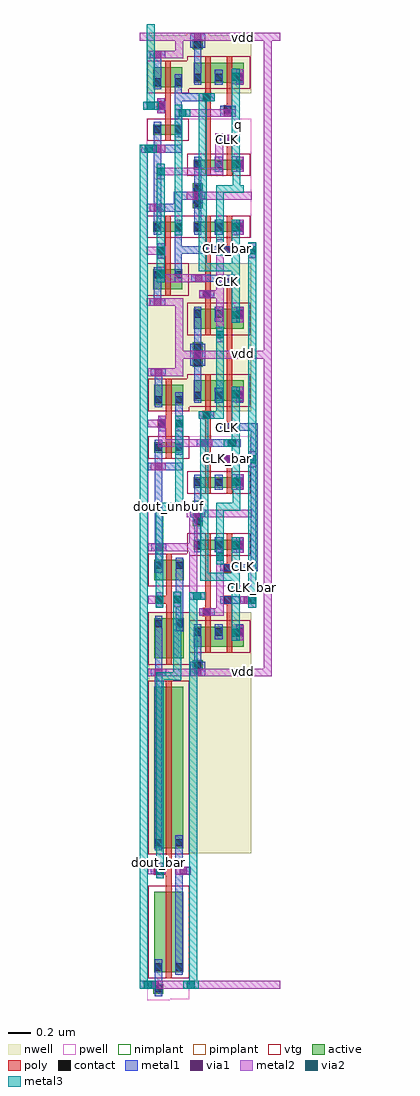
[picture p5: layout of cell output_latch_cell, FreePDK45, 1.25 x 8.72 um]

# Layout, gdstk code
from math import pi, radians
import gdstk
lib = gdstk.Library(unit=1e-6, precision=5e-10)
def R(c, l, rs):  # rectangles x0, y0, x1, y1
    for r in rs: c.add(gdstk.rectangle(r[:2], r[2:], *l))
active = (1, 0)
pwell = (2, 0)
nwell = (3, 0)
nimplant = (4, 0)
pimplant = (5, 0)
vtg = (6, 0)
poly = (9, 0)
contact = (10, 0)
metal1 = (11, 0)
via1 = (12, 0)
metal2 = (13, 0)
via2 = (14, 0)
metal3 = (15, 0)

m2_m1_viab = lib.new_cell('M2_M1_viaB')
R(m2_m1_viab, metal1, [(-0.0675,-0.0325,0.0675,0.0325)])
R(m2_m1_viab, via1, [(-0.0325,-0.0325,0.0325,0.0325)])
R(m2_m1_viab, metal2, [(-0.0675,-0.035,0.0675,0.035)])

dcont_25 = lib.new_cell('dcont_25')
R(dcont_25, active, [(-0.0375,0.03,0.0375,0.105)])
R(dcont_25, contact, [(-0.0325,0.035,0.0325,0.1)])
R(dcont_25, metal1, [(-0.0325,0,0.0325,0.135)])

pmos_vtg_1 = lib.new_cell('pmos_vtg_1')
R(pmos_vtg_1, active, [(-0.105,0,0.155,0.36), (-0.105,0,-0.03,0.36), (0.08,0,0.155,0.36), (-0.105,0.01,-0.03,0.085), (0.08,0.01,0.155,0.085)])
R(pmos_vtg_1, nwell, [(-0.16,-0.055,0.21,0.415)])
R(pmos_vtg_1, pimplant, [(-0.105,0,0.155,0.36)])
R(pmos_vtg_1, vtg, [(-0.16,-0.055,0.21,0.415)])
R(pmos_vtg_1, poly, [(0,-0.055,0.05,0), (0,-0.055,0.05,0.415), (0,0.36,0.05,0.415)])
pmos_vtg_1.add(gdstk.Reference(dcont_25, (0.1175,-0.02)))
pmos_vtg_1.add(gdstk.Reference(dcont_25, (-0.0675,-0.02)))
pmos_vtg_1.add(gdstk.Label('l = 0.05', (0.06,0.18), layer=239, texttype=0))
pmos_vtg_1.add(gdstk.Label('w = 0.36', (0.025,0.425), layer=239, texttype=0))

pcont_2 = lib.new_cell('pcont_2')
R(pcont_2, poly, [(-0.0375,-0.0375,0.0375,0.0375)])
R(pcont_2, contact, [(-0.0325,-0.0325,0.0325,0.0325)])
R(pcont_2, metal1, [(-0.0325,-0.0675,0.0325,0.0675)])

m2_m1_viac = lib.new_cell('M2_M1_viaC')
R(m2_m1_viac, metal1, [(-0.0325,-0.0675,0.0325,0.0675)])
R(m2_m1_viac, via1, [(-0.0325,-0.0325,0.0325,0.0325)])
R(m2_m1_viac, metal2, [(-0.035,-0.0675,0.035,0.0675)])

nmos_vtg_3 = lib.new_cell('nmos_vtg_3')
R(nmos_vtg_3, active, [(-0.105,0,0.155,0.18), (-0.105,0,-0.03,0.18), (0.08,0,0.155,0.18), (-0.105,0.01,-0.03,0.085), (0.08,0.01,0.155,0.085)])
R(nmos_vtg_3, pwell, [(-0.16,-0.055,0.21,0.235)])
R(nmos_vtg_3, nimplant, [(-0.105,0,0.155,0.18)])
R(nmos_vtg_3, vtg, [(-0.16,-0.055,0.21,0.235)])
R(nmos_vtg_3, poly, [(0,-0.055,0.05,0), (0,-0.055,0.05,0.235), (0,0.18,0.05,0.235)])
nmos_vtg_3.add(gdstk.Reference(dcont_25, (0.1175,-0.02)))
nmos_vtg_3.add(gdstk.Reference(dcont_25, (-0.0675,-0.02)))
nmos_vtg_3.add(gdstk.Label('l = 0.05', (0.06,0.09), layer=239, texttype=0))
nmos_vtg_3.add(gdstk.Label('w = 0.18', (0.025,0.245), layer=239, texttype=0))

out_inv_4 = lib.new_cell('out_inv_4')
R(out_inv_4, poly, [(0.1625,0.345,0.2125,0.6475), (0.09,0.4675,0.1625,0.5425)])
R(out_inv_4, metal1, [(0.0625,0.005,0.1275,0.14), (0.2475,0.2175,0.3125,0.6825), (0.0625,0.7725,0.1275,1.1675)])
R(out_inv_4, metal2, [(0,0.0025,0.385,0.0725), (0,0.47,0.13,0.54), (0,1.12,0.385,1.19)])
out_inv_4.add(gdstk.Reference(pmos_vtg_1, (0.1625,0.67)))
out_inv_4.add(gdstk.Reference(pcont_2, (0.1,0.505)))
out_inv_4.add(gdstk.Reference(m2_m1_viab, (0.095,1.155)))
out_inv_4.add(gdstk.Reference(m2_m1_viab, (0.095,0.0375)))
out_inv_4.add(gdstk.Reference(m2_m1_viac, (0.1025,0.505)))
out_inv_4.add(gdstk.Reference(nmos_vtg_3, (0.1625,0.15)))
out_inv_4.add(gdstk.Label('a', (0.0125,0.5125), layer=13, texttype=0))

pmos_vtg_4 = lib.new_cell('pmos_vtg_4')
R(pmos_vtg_4, active, [(-0.105,0,0.155,0.18), (-0.105,0,-0.03,0.18), (0.08,0,0.155,0.18), (-0.105,0.01,-0.03,0.085), (0.08,0.01,0.155,0.085)])
R(pmos_vtg_4, nwell, [(-0.16,-0.055,0.21,0.235)])
R(pmos_vtg_4, pimplant, [(-0.105,0,0.155,0.18)])
R(pmos_vtg_4, vtg, [(-0.16,-0.055,0.21,0.235)])
R(pmos_vtg_4, poly, [(0,-0.055,0.05,0), (0,-0.055,0.05,0.235), (0,0.18,0.05,0.235)])
pmos_vtg_4.add(gdstk.Reference(dcont_25, (0.1175,-0.02)))
pmos_vtg_4.add(gdstk.Reference(dcont_25, (-0.0675,-0.02)))
pmos_vtg_4.add(gdstk.Label('l = 0.05', (0.06,0.09), layer=239, texttype=0))
pmos_vtg_4.add(gdstk.Label('w = 0.18', (0.025,0.245), layer=239, texttype=0))

nmos_vtg_5 = lib.new_cell('nmos_vtg_5')
R(nmos_vtg_5, active, [(-0.105,0,0.155,0.09), (-0.105,0,-0.03,0.09), (0.08,0,0.155,0.09), (-0.105,0.01,-0.03,0.085), (0.08,0.01,0.155,0.085)])
R(nmos_vtg_5, pwell, [(-0.16,-0.055,0.21,0.145)])
R(nmos_vtg_5, nimplant, [(-0.105,0,0.155,0.09)])
R(nmos_vtg_5, vtg, [(-0.16,-0.055,0.21,0.145)])
R(nmos_vtg_5, poly, [(0,-0.055,0.05,0), (0,-0.055,0.05,0.145), (0,0.09,0.05,0.145)])
nmos_vtg_5.add(gdstk.Reference(dcont_25, (0.1175,-0.02)))
nmos_vtg_5.add(gdstk.Reference(dcont_25, (-0.0675,-0.02)))
nmos_vtg_5.add(gdstk.Label('l = 0.05', (0.06,0.045), layer=239, texttype=0))
nmos_vtg_5.add(gdstk.Label('w = 0.09', (0.025,0.155), layer=239, texttype=0))

out_inv_2 = lib.new_cell('out_inv_2')
R(out_inv_2, poly, [(0.1625,0.345,0.2125,0.5725), (0.09,0.425,0.1625,0.495)])
R(out_inv_2, metal1, [(0,0.04,0.31,0.11), (0.0625,0.055,0.1275,0.19), (0.2475,0.31,0.3125,0.6175), (0.0625,0.7275,0.1275,0.9525)])
R(out_inv_2, metal2, [(0,0.425,0.13,0.495), (0,0.8825,0.3125,0.9525)])
out_inv_2.add(gdstk.Reference(pcont_2, (0.1275,0.46)))
out_inv_2.add(gdstk.Reference(m2_m1_viab, (0.095,0.9175)))
out_inv_2.add(gdstk.Reference(m2_m1_viab, (0.095,0.075)))
out_inv_2.add(gdstk.Reference(m2_m1_viac, (0.1275,0.46)))
out_inv_2.add(gdstk.Reference(pmos_vtg_4, (0.1625,0.625)))
out_inv_2.add(gdstk.Reference(nmos_vtg_5, (0.1625,0.2)))
out_inv_2.add(gdstk.Label('z', (0.29,0.4675), layer=11, texttype=0))
out_inv_2.add(gdstk.Label('a', (0.0225,0.46), layer=13, texttype=0))

contact_0 = lib.new_cell('Contact_0')
R(contact_0, active, [(-0.0075,-0.0075,0.0825,0.0825)])
R(contact_0, contact, [(0.005,0.005,0.07,0.07)])
R(contact_0, metal1, [(-0.0075,-0.0075,0.0825,0.0825)])

m3_m2_viab = lib.new_cell('M3_M2_viaB')
R(m3_m2_viab, metal2, [(-0.035,-0.07,0.035,0.07)])
R(m3_m2_viab, via2, [(-0.035,-0.035,0.035,0.035)])
R(m3_m2_viab, metal3, [(-0.035,-0.07,0.035,0.07)])

m3_m2_viac = lib.new_cell('M3_M2_viaC')
R(m3_m2_viac, metal2, [(-0.07,-0.035,0.07,0.035)])
R(m3_m2_viac, via2, [(-0.035,-0.035,0.035,0.035)])
R(m3_m2_viac, metal3, [(-0.07,-0.035,0.07,0.035)])

nmos_vtg_6 = lib.new_cell('nmos_vtg_6')
R(nmos_vtg_6, active, [(-0.105,0,0.155,0.09), (-0.105,0,-0.03,0.09), (0.08,0,0.155,0.09), (-0.105,0.01,-0.03,0.085), (0.08,0.01,0.155,0.085)])
R(nmos_vtg_6, pwell, [(-0.16,-0.055,0.21,0.145)])
R(nmos_vtg_6, nimplant, [(-0.105,0,0.155,0.09)])
R(nmos_vtg_6, vtg, [(-0.16,-0.055,0.21,0.145)])
R(nmos_vtg_6, poly, [(0,-0.055,0.05,0), (0,-0.055,0.05,0.145), (0,0.09,0.05,0.145)])
nmos_vtg_6.add(gdstk.Reference(dcont_25, (0.1175,-0.02)))
nmos_vtg_6.add(gdstk.Reference(dcont_25, (-0.0675,-0.02)))
nmos_vtg_6.add(gdstk.Label('l = 0.05', (0.06,0.045), layer=239, texttype=0))
nmos_vtg_6.add(gdstk.Label('w = 0.09', (0.025,0.155), layer=239, texttype=0))

pmos_vtg_7 = lib.new_cell('pmos_vtg_7')
R(pmos_vtg_7, active, [(-0.105,0,0.155,0.18), (-0.105,0,-0.03,0.18), (0.08,0,0.155,0.18), (-0.105,0.01,-0.03,0.085), (0.08,0.01,0.155,0.085)])
R(pmos_vtg_7, nwell, [(-0.16,-0.055,0.21,0.235)])
R(pmos_vtg_7, pimplant, [(-0.105,0,0.155,0.18)])
R(pmos_vtg_7, vtg, [(-0.16,-0.055,0.21,0.235)])
R(pmos_vtg_7, poly, [(0,-0.055,0.05,0), (0,-0.055,0.05,0.235), (0,0.18,0.05,0.235)])
pmos_vtg_7.add(gdstk.Reference(dcont_25, (0.1175,-0.02)))
pmos_vtg_7.add(gdstk.Reference(dcont_25, (-0.0675,-0.02)))
pmos_vtg_7.add(gdstk.Label('l = 0.05', (0.06,0.09), layer=239, texttype=0))
pmos_vtg_7.add(gdstk.Label('w = 0.18', (0.025,0.245), layer=239, texttype=0))

ntap_1 = lib.new_cell('NTAP_1')
R(ntap_1, active, [(-0.045,-0.045,0.045,0.045)])
R(ntap_1, nwell, [(-0.1,-0.1,0.1,0.1)])
R(ntap_1, nimplant, [(-0.045,-0.045,0.045,0.045)])
R(ntap_1, contact, [(-0.0325,-0.0325,0.0325,0.0325)])
R(ntap_1, metal1, [(-0.0325,-0.0675,0.0325,0.0675)])

ptap_0 = lib.new_cell('PTAP_0')
R(ptap_0, active, [(-0.045,-0.045,0.045,0.045)])
R(ptap_0, pwell, [(-0.1,-0.1,0.1,0.1)])
R(ptap_0, pimplant, [(-0.045,-0.045,0.045,0.045)])
R(ptap_0, contact, [(-0.0325,-0.0325,0.0325,0.0325)])
R(ptap_0, metal1, [(-0.0325,-0.0675,0.0325,0.0675)])

tgate = lib.new_cell('tgate')
R(tgate, pwell, [(0,0.0325,0.5775,0.4075)])
R(tgate, nwell, [(0,0.95,0.5775,1.4675)])
R(tgate, poly, [(0.3575,0.3875,0.4075,0.49), (0.1675,0.3975,0.2175,0.8775), (0.3575,0.8025,0.4075,0.99), (0.1675,0.9525,0.2175,0.99)])
R(tgate, metal1, [(0.0675,0.1225,0.1325,0.2525), (0.0675,1.16,0.1325,1.4375)])
R(tgate, metal2, [(0,0,0.58,0.07), (0,1.42,0.58,1.49)])
R(tgate, metal3, [(0.4025,0.3325,0.4725,1.135)])
tgate.add(gdstk.Reference(nmos_vtg_6, (0.1675,0.2675)))
tgate.add(gdstk.Reference(nmos_vtg_6, (0.3575,0.2675)))
tgate.add(gdstk.Reference(pcont_2, (0.37,0.52), rotation=pi/2))
tgate.add(gdstk.Reference(pcont_2, (0.37,0.8075), rotation=pi/2))
tgate.add(gdstk.Reference(pcont_2, (0.18,0.915), rotation=pi/2))
tgate.add(gdstk.Reference(m2_m1_viab, (0.1,1.455)))
tgate.add(gdstk.Reference(m2_m1_viab, (0.1,0.035)))
tgate.add(gdstk.Reference(m2_m1_viac, (0.475,1.1)))
tgate.add(gdstk.Reference(m2_m1_viac, (0.475,0.3175)))
tgate.add(gdstk.Reference(pmos_vtg_7, (0.1675,1.045)))
tgate.add(gdstk.Reference(pmos_vtg_7, (0.3575,1.045)))
tgate.add(gdstk.Reference(m3_m2_viab, (0.4375,1.1)))
tgate.add(gdstk.Reference(m3_m2_viab, (0.4375,0.3175)))
tgate.add(gdstk.Reference(ntap_1, (0.1,1.39), rotation=pi/2))
tgate.add(gdstk.Reference(ptap_0, (0.1,0.1025)))

nmos_vtg_8 = lib.new_cell('nmos_vtg_8')
R(nmos_vtg_8, active, [(-0.105,0,0.155,0.72), (-0.105,0,-0.03,0.72), (0.08,0,0.155,0.72), (-0.105,0.01,-0.03,0.085), (0.08,0.01,0.155,0.085)])
R(nmos_vtg_8, pwell, [(-0.16,-0.055,0.21,0.775)])
R(nmos_vtg_8, nimplant, [(-0.105,0,0.155,0.72)])
R(nmos_vtg_8, vtg, [(-0.16,-0.055,0.21,0.775)])
R(nmos_vtg_8, poly, [(0,-0.055,0.05,0), (0,-0.055,0.05,0.775), (0,0.72,0.05,0.775)])
nmos_vtg_8.add(gdstk.Reference(dcont_25, (0.1175,-0.02)))
nmos_vtg_8.add(gdstk.Reference(dcont_25, (-0.0675,-0.02)))
nmos_vtg_8.add(gdstk.Label('l = 0.05', (0.06,0.36), layer=239, texttype=0))
nmos_vtg_8.add(gdstk.Label('w = 0.72', (0.025,0.785), layer=239, texttype=0))

pmos_vtg_9 = lib.new_cell('pmos_vtg_9')
R(pmos_vtg_9, active, [(-0.105,0,0.155,1.44), (-0.105,0,-0.03,1.44), (0.08,0,0.155,1.44), (-0.105,0.01,-0.03,0.085), (0.08,0.01,0.155,0.085)])
R(pmos_vtg_9, nwell, [(-0.16,-0.055,0.21,1.495)])
R(pmos_vtg_9, pimplant, [(-0.105,0,0.155,1.44)])
R(pmos_vtg_9, vtg, [(-0.16,-0.055,0.21,1.495)])
R(pmos_vtg_9, poly, [(0,-0.055,0.05,0), (0,-0.055,0.05,1.495), (0,1.44,0.05,1.495)])
pmos_vtg_9.add(gdstk.Reference(dcont_25, (0.1175,-0.02)))
pmos_vtg_9.add(gdstk.Reference(dcont_25, (-0.0675,-0.02)))
pmos_vtg_9.add(gdstk.Label('l = 0.05', (0.06,0.72), layer=239, texttype=0))
pmos_vtg_9.add(gdstk.Label('w = 1.44', (0.025,1.505), layer=239, texttype=0))

out_inv_16 = lib.new_cell('out_inv_16')
R(out_inv_16, pwell, [(0.0025,-0.0925,0.3725,0.14)])
R(out_inv_16, poly, [(0.1625,0.905,0.2125,1.2075), (0.09,1.0225,0.1625,1.0975)])
R(out_inv_16, metal1, [(0.0625,0.005,0.1275,0.14), (0.2475,0.2,0.3125,1.285), (0.0625,1.3075,0.1275,2.8425)])
R(out_inv_16, metal2, [(0,0.0025,0.385,0.0725), (0,1.025,0.13,1.095), (0,2.795,0.385,2.865)])
out_inv_16.add(gdstk.Reference(nmos_vtg_8, (0.1625,0.15)))
out_inv_16.add(gdstk.Reference(pcont_2, (0.0925,1.06), rotation=pi/2))
out_inv_16.add(gdstk.Reference(m2_m1_viab, (0.095,2.83)))
out_inv_16.add(gdstk.Reference(m2_m1_viab, (0.0675,0.0375)))
out_inv_16.add(gdstk.Reference(m2_m1_viac, (0.0925,1.06), rotation=pi/2))
out_inv_16.add(gdstk.Reference(m2_m1_viac, (0.3175,1.0575), rotation=pi/2))
out_inv_16.add(gdstk.Reference(pmos_vtg_9, (0.1625,1.26)))
out_inv_16.add(gdstk.Reference(ptap_0, (0.095,0.0025)))
out_inv_16.add(gdstk.Label('z', (0.3725,1.06), layer=13, texttype=0))
out_inv_16.add(gdstk.Label('a', (0.0125,1.0675), layer=13, texttype=0))

output_latch_cell = lib.new_cell('output_latch_cell')
R(output_latch_cell, active, [(0.4725,4.4525,0.5625,4.5), (0.4725,5.8675,0.5625,5.915), (0.4725,7.2925,0.5625,7.34)])
R(output_latch_cell, pwell, [(0.0725,3.825,0.9925,5.165), (0.08,3.825,0.995,4.85), (0.41,6.9375,0.4975,7.1375), (0.0625,6.94,0.995,8.0025)])
R(output_latch_cell, nwell, [(0.08,1.4375,0.995,3.595), (0.0675,5.39,0.995,6.7125), (0.065,8.23,0.995,8.7475)])
R(output_latch_cell, nimplant, [(0.4725,5.8675,0.5625,5.915)])
R(output_latch_cell, pimplant, [(0.4725,4.4525,0.5625,4.5), (0.4725,7.2925,0.5625,7.34)])
R(output_latch_cell, poly, [(0.775,5.72,0.825,6.07)])
R(output_latch_cell, metal1, [(0.8025,3.67,1.03,3.735), (0.8525,3.9575,1.0325,4.0225), (0.99,3.9575,1.055,5.28), (0.1325,4.1375,0.1975,4.93), (0.51,5.07,0.9,5.14), (0.8475,5.215,1.0325,5.28), (0.4825,6.545,0.8525,6.61), (0.31,6.795,0.84,6.865), (0.85,6.7975,1.0375,6.8625), (0.1225,7.16,0.1925,7.7825), (0.3025,7.1725,0.3725,7.35), (0.3025,7.28,0.55,7.35), (0.31,8.16,0.6675,8.23)])
R(output_latch_cell, metal2, [(0.5175,0.2275,1.2525,0.2975), (0.9775,3.02,1.1775,3.09), (1.1075,3.02,1.1775,8.7725), (0.53,3.56,0.75,3.63), (0.68,3.56,0.75,4.0325), (0.4425,3.7025,0.5125,4.51), (0.73,4.925,1.03,4.995), (0.1625,5.07,0.2325,5.25), (0.1625,5.07,0.58,5.14), (0.315,5.7025,0.385,6.4), (0.315,5.86,0.7025,5.93), (0.95,5.86,1.1775,5.93), (0.68,6.04,0.75,6.7925), (0.5675,6.4,0.75,6.47), (0.155,6.5425,0.5175,6.6125), (0.205,7.4975,0.7425,7.5675), (0.6725,7.4975,0.7425,7.875), (0.31,8.02,0.7625,8.09), (0.315,8.5425,0.385,8.77), (0,8.7,0.9975,8.77), (0.0625,8.7,0.45,8.77), (0.985,8.7,1.2525,8.77)])
R(output_latch_cell, metal3, [(0,0.2275,0.07,7.77), (0.4425,0.2275,0.5125,2.8975), (0.145,1.2175,0.215,3.0575), (0.4425,2.825,0.5125,3.75), (0.2975,2.985,0.3675,3.74), (0.145,2.9875,0.3675,3.0575), (0.14,3.635,0.21,4.57), (0.9675,3.7275,1.0375,6.86), (0.54,3.875,0.8625,3.945), (0.54,3.88,0.61,5.39), (0.68,4.03,0.75,4.5675), (0.14,4.5,0.3875,4.57), (0.3175,4.5,0.3875,5.3475), (0.68,4.5,0.8975,4.57), (0.8275,4.5025,0.8975,4.785), (0.6425,5.32,0.75,5.39), (0.68,5.32,0.75,6.0225), (0.1525,6.5425,0.2225,7.52), (0.5275,6.64,0.89,6.71), (0.5275,6.6425,0.5975,8.23), (0.68,6.87,0.75,7.4075), (0.31,6.96,0.38,8.1275), (0.68,7.34,0.9275,7.41), (0.8275,7.3425,0.8975,7.625), (0.0625,8.1125,0.1325,8.85)])
output_latch_cell.add(gdstk.Reference(m2_m1_viab, (0.9625,3.7025)))
output_latch_cell.add(gdstk.Reference(m2_m1_viab, (0.5975,8.195)))
output_latch_cell.add(gdstk.Reference(m2_m1_viab, (0.6,3.595)))
output_latch_cell.add(gdstk.Reference(m2_m1_viab, (0.7875,4.96)))
output_latch_cell.add(gdstk.Reference(m2_m1_viab, (0.595,5.355)))
output_latch_cell.add(gdstk.Reference(m2_m1_viab, (0.7875,8.055)))
output_latch_cell.add(gdstk.Reference(m2_m1_viab, (0.7875,7.825)))
output_latch_cell.add(gdstk.Reference(m2_m1_viab, (0.5775,5.105)))
output_latch_cell.add(gdstk.Reference(out_inv_4, (0.0725,4.21), x_reflection=True))
output_latch_cell.add(gdstk.Reference(out_inv_4, (0.0725,4.21), x_reflection=True))
output_latch_cell.add(gdstk.Reference(m2_m1_viac, (0.3325,3.705)))
output_latch_cell.add(gdstk.Reference(m2_m1_viac, (1.0025,6.8275)))
output_latch_cell.add(gdstk.Reference(m2_m1_viac, (0.5975,6.435), rotation=pi/2))
output_latch_cell.add(gdstk.Reference(m2_m1_viac, (0.525,6.5775), rotation=pi/2))
output_latch_cell.add(gdstk.Reference(m2_m1_viac, (0.3525,5.2775)))
output_latch_cell.add(gdstk.Reference(m2_m1_viac, (0.83,5.105), rotation=pi/2))
output_latch_cell.add(gdstk.Reference(m2_m1_viac, (0.345,7.0325)))
output_latch_cell.add(gdstk.Reference(out_inv_2, (0.0625,7.66)))
output_latch_cell.add(gdstk.Reference(out_inv_2, (0.0625,7.2825), x_reflection=True))
output_latch_cell.add(gdstk.Reference(out_inv_2, (0.07,4.82)))
output_latch_cell.add(gdstk.Reference(contact_0, (0.48,5.875)))
output_latch_cell.add(gdstk.Reference(contact_0, (0.48,5.83)))
output_latch_cell.add(gdstk.Reference(contact_0, (0.48,7.3)))
output_latch_cell.add(gdstk.Reference(contact_0, (0.48,7.255)))
output_latch_cell.add(gdstk.Reference(contact_0, (0.48,4.415)))
output_latch_cell.add(gdstk.Reference(contact_0, (0.48,4.46)))
output_latch_cell.add(gdstk.Reference(m3_m2_viab, (0.08,7.735), rotation=pi/2))
output_latch_cell.add(gdstk.Reference(m3_m2_viab, (1.0025,6.8275)))
output_latch_cell.add(gdstk.Reference(m3_m2_viab, (1.0025,4.96)))
output_latch_cell.add(gdstk.Reference(m3_m2_viab, (1.0025,3.7025)))
output_latch_cell.add(gdstk.Reference(m3_m2_viab, (0.1875,6.6125)))
output_latch_cell.add(gdstk.Reference(m3_m2_viab, (0.5125,3.7375), rotation=pi/2))
output_latch_cell.add(gdstk.Reference(m3_m2_viab, (0.3325,3.7075)))
output_latch_cell.add(gdstk.Reference(m3_m2_viab, (0.175,3.7025)))
output_latch_cell.add(gdstk.Reference(m3_m2_viab, (0.3525,5.28)))
output_latch_cell.add(gdstk.Reference(m3_m2_viab, (0.715,6.855)))
output_latch_cell.add(gdstk.Reference(m3_m2_viab, (0.1875,6.8225)))
output_latch_cell.add(gdstk.Reference(m3_m2_viab, (0.345,7.0325)))
output_latch_cell.add(gdstk.Reference(m3_m2_viab, (0.38,8.055), rotation=pi/2))
output_latch_cell.add(gdstk.Reference(m3_m2_viab, (0.1875,7.5325)))
output_latch_cell.add(gdstk.Reference(m3_m2_viab, (0.715,4.09)))
output_latch_cell.add(gdstk.Reference(m3_m2_viab, (0.715,6.075)))
output_latch_cell.add(gdstk.Reference(m3_m2_viab, (0.82,5.105), rotation=pi/2))
output_latch_cell.add(gdstk.Reference(m3_m2_viac, (0.0975,8.12)))
output_latch_cell.add(gdstk.Reference(m3_m2_viac, (0.07,0.2625)))
output_latch_cell.add(gdstk.Reference(m3_m2_viac, (0.18,1.285), rotation=pi/2))
output_latch_cell.add(gdstk.Reference(m3_m2_viac, (0.455,0.2625)))
output_latch_cell.add(gdstk.Reference(m3_m2_viac, (0.5975,8.195)))
output_latch_cell.add(gdstk.Reference(m3_m2_viac, (0.595,5.355)))
output_latch_cell.add(gdstk.Reference(tgate, (0.4175,7.35), x_reflection=True))
output_latch_cell.add(gdstk.Reference(tgate, (0.4175,4.44)))
output_latch_cell.add(gdstk.Reference(tgate, (0.4175,7.28)))
output_latch_cell.add(gdstk.Reference(tgate, (0.4175,4.51), x_reflection=True))
output_latch_cell.add(gdstk.Reference(out_inv_16, (0.07,0.225)))
output_latch_cell.add(gdstk.Reference(ptap_0, (0.5175,4.5425)))
output_latch_cell.add(gdstk.Reference(ptap_0, (0.5175,4.4075)))
output_latch_cell.add(gdstk.Reference(ptap_0, (0.5175,7.3825)))
output_latch_cell.add(gdstk.Reference(ptap_0, (0.5175,7.2475)))
output_latch_cell.add(gdstk.Label('CLK', (0.7825,5.2475), layer=11, texttype=0))
output_latch_cell.add(gdstk.Label('CLK', (0.925,4), layer=11, texttype=0))
output_latch_cell.add(gdstk.Label('dout_unbuf', (0.255,4.535), layer=15, texttype=0))
output_latch_cell.add(gdstk.Label('dout_bar', (0.17,1.36), layer=15, texttype=0))
output_latch_cell.add(gdstk.Label('q_bar', (0.88,5.3325), layer=15, texttype=0))
output_latch_cell.add(gdstk.Label('CLK_bar', (1.0025,3.81), layer=15, texttype=0))
output_latch_cell.add(gdstk.Label('vdd', (0.9225,3.065), layer=13, texttype=0))
output_latch_cell.add(gdstk.Label('vdd', (0.9225,5.905), layer=13, texttype=0))
output_latch_cell.add(gdstk.Label('dout', (0.4425,1.285), layer=13, texttype=0))
output_latch_cell.add(gdstk.Label('CLK_bar', (0.7825,4.965), layer=13, texttype=0))
output_latch_cell.add(gdstk.Label('vdd', (0.9225,8.7325), layer=13, texttype=0))
output_latch_cell.add(gdstk.Label('q', (0.88,7.9525), layer=239, texttype=0))
output_latch_cell.add(gdstk.Label('CLK', (0.7825,7.8175), layer=239, texttype=0))
output_latch_cell.add(gdstk.Label('CLK_bar', (0.7575,8.06), layer=239, texttype=0))
output_latch_cell.add(gdstk.Label('CLK', (0.7825,6.5475), layer=239, texttype=0))
output_latch_cell.add(gdstk.Label('CLK_bar', (0.7825,6.84), layer=239, texttype=0))

lib.write_gds('output_latch_cell.gds')
